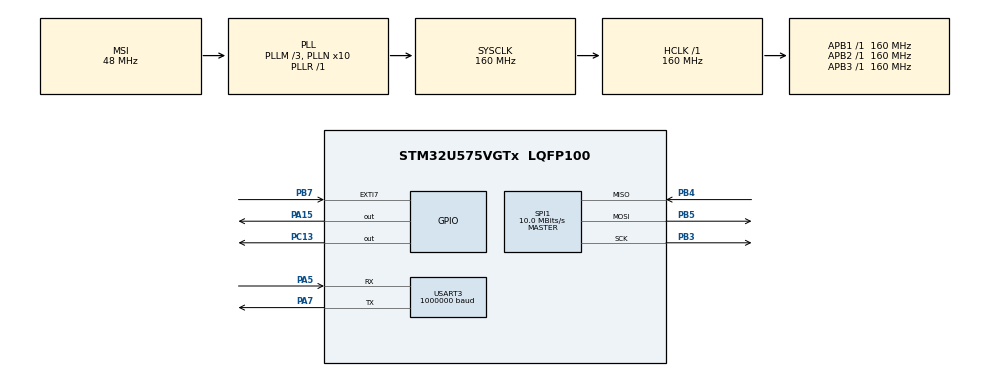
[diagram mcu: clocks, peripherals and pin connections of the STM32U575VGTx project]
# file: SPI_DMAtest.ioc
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CORTEX_M33_NS.userName=CORTEX_M33
GPDMA1.IPHANDLE_GPDMACH0-SIMPLEREQUEST_GPDMACH0=__NULL
GPDMA1.REQUEST_GPDMACH0=GPDMA1_REQUEST_SPI1_RX
Mcu.Family=STM32U5
Mcu.Name=STM32U575VGTx
Mcu.Package=LQFP100
NVIC.EXTI7_IRQn=true\:5\:0\:true\:false\:true\:true\:true\:true
NVIC.GPDMA1_Channel0_IRQn=true\:5\:0\:true\:false\:true\:false\:true\:true
NVIC.PriorityGroup=NVIC_PRIORITYGROUP_4
NVIC.SPI1_IRQn=true\:5\:0\:true\:false\:true\:false\:true\:true
PA15\ (JTDI).Signal=GPIO_Output
PA5.Mode=Asynchronous
PA5.Signal=USART3_RX
PA7.Mode=Asynchronous
PA7.Signal=USART3_TX
PB3\ (JTDO/TRACESWO).Mode=Full_Duplex_Master
PB3\ (JTDO/TRACESWO).Signal=SPI1_SCK
PB4\ (NJTRST).Mode=Full_Duplex_Master
PB4\ (NJTRST).Signal=SPI1_MISO
PB5.Mode=Full_Duplex_Master
PB5.Signal=SPI1_MOSI
PB7.GPIO_ModeDefaultEXTI=GPIO_MODE_IT_FALLING
PB7.Signal=GPXTI7
PC13.Signal=GPIO_Output
PH0-OSC_IN\ (PH0).Mode=HSE-External-Oscillator
PH0-OSC_IN\ (PH0).Signal=RCC_OSC_IN
PH1-OSC_OUT\ (PH1).Mode=HSE-External-Oscillator
PH1-OSC_OUT\ (PH1).Signal=RCC_OSC_OUT
ProjectManager.HeapSize=0x200
ProjectManager.StackSize=0x400
ProjectManager.TargetToolchain=MDK-ARM V5.32
RCC.ADCFreq_Value=16000000
RCC.AHBFreq_Value=160000000
RCC.APB1Freq_Value=160000000
RCC.APB1TimFreq_Value=160000000
RCC.APB2Freq_Value=160000000
RCC.APB2TimFreq_Value=160000000
RCC.APB3Freq_Value=160000000
RCC.CortexFreq_Value=160000000
RCC.EPOD_VALUE=48000000
RCC.HCLKFreq_Value=160000000
RCC.HSE_VALUE=16000000
RCC.HSI48_VALUE=48000000
RCC.HSI_VALUE=16000000
RCC.LSE_VALUE=32768
RCC.LSIDIV_VALUE=32000
RCC.MSIClockRange=RCC_MSIRANGE_0
RCC.MSI_VALUE=48000000
RCC.PLL1R=1
RCC.PLL2FRACN=0
RCC.PLL3FRACN=0
RCC.PLLFRACN=0
RCC.PLLM=3
RCC.PLLN=10
RCC.SYSCLKFreq_VALUE=160000000
RCC.SYSCLKSource=RCC_SYSCLKSOURCE_PLLCLK
RCC.USBFreq_Value=48000000
RCC.VCOOutputFreq_Value=160000000
SPI1.BaudRatePrescaler=SPI_BAUDRATEPRESCALER_16
SPI1.CalculateBaudRate=10.0 MBits/s
SPI1.DataSize=SPI_DATASIZE_8BIT
SPI1.Direction=SPI_DIRECTION_2LINES
SPI1.Mode=SPI_MODE_MASTER
SPI1.VirtualType=VM_MASTER
USART3.BaudRate=1000000
USART3.VirtualMode-Asynchronous=VM_ASYNC
VP_GPDMA1_VS_GPDMACH0.Mode=SIMPLEREQUEST_GPDMACH0
VP_LPBAMQUEUE_VS_QUEUE.Mode=QUEUEMODE
VP_LPBAM_VS_SIG1.Mode=SmartRun
VP_LPBAM_VS_SIG4.Mode=LPDMA1
VP_PWR_VS_DBSignals.Mode=DisableDeadBatterySignals
VP_PWR_VS_LPOM.Mode=PowerOptimisation
VP_PWR_VS_SECSignals.Mode=Security/Privilege
board=custom

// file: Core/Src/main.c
/* USER CODE BEGIN Header */
/**
  ******************************************************************************
  * @file           : main.c
  * @brief          : Main program body
  ******************************************************************************
  * @attention
  *
  * Copyright (c) 2026 STMicroelectronics.
  * All rights reserved.
  *
  * This software is licensed under terms that can be found in the LICENSE file
  * in the root directory of this software component.
  * If no LICENSE file comes with this software, it is provided AS-IS.
  *
  ******************************************************************************
  */
/* USER CODE END Header */
#include "main.h"
#include "gpdma.h"
#include "spi.h"
#include "usart.h"
#include "gpio.h"

/* USER CODE BEGIN Includes */
#include "ADXL355.h"
/* USER CODE END Includes */

void SystemClock_Config(void);
static void SystemPower_Config(void);
/* USER CODE BEGIN PFP */
// ADXL355 DMA Buffer 函数声明
extern void ADXL355_DMA_Read_Prep(uint8_t start_reg);
extern uint16_t ADXL355_Get_Buffer_Count(void);
extern void ADXL355_Read_Buffer(uint8_t* dest, uint16_t* len);
/* USER CODE END PFP */

/* USER CODE BEGIN 0 */
float32_t fsr =0.0f; //量程选择 2/4/8g
/* USER CODE END 0 */

int main(void)
{

  /* MCU Configuration--------------------------------------------------------*/

  /* Reset of all peripherals, Initializes the Flash interface and the Systick. */
  HAL_Init();

  /* Configure the system clock */
  SystemClock_Config();

  /* Configure the System Power */
  SystemPower_Config();

  /* Initialize all configured peripherals */
  MX_GPIO_Init();
  MX_GPDMA1_Init();
  MX_SPI1_Init();
  MX_USART3_UART_Init();
  /* USER CODE BEGIN 2 */

  HAL_GPIO_WritePin(GPIOC, GPIO_PIN_13, GPIO_PIN_SET);//355
	HAL_Delay(20);
	uint8_t dat[32*3*3]={0};//一组数据分为3个轴，一个轴3个byte数据，共32*3*3 byte
	ADXL355_Vibration_Config(&fsr);

  // 准备 DMA 读取命令
  // ADXL355_DMA_Read_Prep(FIFO_DATA);

  __HAL_GPIO_EXTI_CLEAR_FALLING_IT(GPIO_PIN_7);
  HAL_NVIC_EnableIRQ(EXTI7_IRQn);
  SPI_ADXL355_Read_n_Bytes(FIFO_DATA,(uint8_t*)dat,1*3*3);

  /* USER CODE END 2 */

  /* Infinite loop */
  /* USER CODE BEGIN WHILE */
  while (1)
  {
    // 定期检查缓冲区数据量
    uint16_t count = ADXL355_Get_Buffer_Count();
    if (count > 0)
    {
      printf("Buffer has %d bytes\r\n", count);

      // 当缓冲区达到一定量时读取并处理
      if (count >= 1000)
      {
        uint8_t process_buf[10000];
        uint16_t len;
        ADXL355_Read_Buffer(process_buf, &len);
        printf("Read %d bytes from buffer\r\n", len);
        // 这里可以处理 process_buf 中的数据
      }
    }

    HAL_Delay(1000);
    /* USER CODE END WHILE */

  }
}

void SystemClock_Config(void)
{
  RCC_OscInitTypeDef RCC_OscInitStruct = {0};
  RCC_ClkInitTypeDef RCC_ClkInitStruct = {0};

  /** Configure the main internal regulator output voltage
  */
  if (HAL_PWREx_ControlVoltageScaling(PWR_REGULATOR_VOLTAGE_SCALE1) != HAL_OK)
  {
    Error_Handler();
  }

  /** Initializes the CPU, AHB and APB buses clocks
  */
  RCC_OscInitStruct.OscillatorType = RCC_OSCILLATORTYPE_MSI;
  RCC_OscInitStruct.MSIState = RCC_MSI_ON;
  RCC_OscInitStruct.MSICalibrationValue = RCC_MSICALIBRATION_DEFAULT;
  RCC_OscInitStruct.MSIClockRange = RCC_MSIRANGE_0;
  RCC_OscInitStruct.PLL.PLLState = RCC_PLL_ON;
  RCC_OscInitStruct.PLL.PLLSource = RCC_PLLSOURCE_MSI;
  RCC_OscInitStruct.PLL.PLLMBOOST = RCC_PLLMBOOST_DIV4;
  RCC_OscInitStruct.PLL.PLLM = 3;
  RCC_OscInitStruct.PLL.PLLN = 10;
  RCC_OscInitStruct.PLL.PLLP = 2;
  RCC_OscInitStruct.PLL.PLLQ = 2;
  RCC_OscInitStruct.PLL.PLLR = 1;
  RCC_OscInitStruct.PLL.PLLRGE = RCC_PLLVCIRANGE_1;
  RCC_OscInitStruct.PLL.PLLFRACN = 0;
  if (HAL_RCC_OscConfig(&RCC_OscInitStruct) != HAL_OK)
  {
    Error_Handler();
  }

  /** Initializes the CPU, AHB and APB buses clocks
  */
  RCC_ClkInitStruct.ClockType = RCC_CLOCKTYPE_HCLK|RCC_CLOCKTYPE_SYSCLK
                              |RCC_CLOCKTYPE_PCLK1|RCC_CLOCKTYPE_PCLK2
                              |RCC_CLOCKTYPE_PCLK3;
  RCC_ClkInitStruct.SYSCLKSource = RCC_SYSCLKSOURCE_PLLCLK;
  RCC_ClkInitStruct.AHBCLKDivider = RCC_SYSCLK_DIV1;
  RCC_ClkInitStruct.APB1CLKDivider = RCC_HCLK_DIV1;
  RCC_ClkInitStruct.APB2CLKDivider = RCC_HCLK_DIV1;
  RCC_ClkInitStruct.APB3CLKDivider = RCC_HCLK_DIV1;

  if (HAL_RCC_ClockConfig(&RCC_ClkInitStruct, FLASH_LATENCY_4) != HAL_OK)
  {
    Error_Handler();
  }
}

/**
  * @brief Power Configuration
  * @retval None
  */
static void SystemPower_Config(void)
{

  /*
   * Disable the internal Pull-Up in Dead Battery pins of UCPD peripheral
   */
  HAL_PWREx_DisableUCPDDeadBattery();
}

void Error_Handler(void)
{
  __disable_irq();
  while (1)
  {
  }
}
